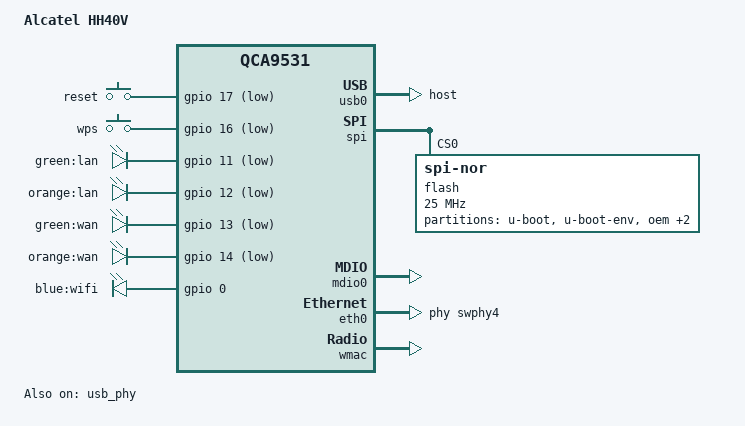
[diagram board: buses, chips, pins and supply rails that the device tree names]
// SPDX-License-Identifier: GPL-2.0-or-later OR MIT

#include "qca953x.dtsi"

#include <dt-bindings/gpio/gpio.h>
#include <dt-bindings/input/input.h>

/ {
	compatible = "alcatel,hh40v", "qca,qca9531";
	model = "Alcatel HH40V";

	aliases {
		label-mac-device = &wmac;
		led-boot = &led_lan_link;
		led-failsafe = &led_lan_link;
		led-upgrade = &led_lan_link;
	};

	keys {
		compatible = "gpio-keys";

		reset {
			label = "reset";
			linux,code = <KEY_RESTART>;
			gpios = <&gpio 17 GPIO_ACTIVE_LOW>;
		};

		wps {
			label = "wps";
			linux,code = <KEY_WPS_BUTTON>;
			gpios = <&gpio 16 GPIO_ACTIVE_LOW>;
		};

	};

	leds {
		compatible = "gpio-leds";

		pinctrl-names = "default";
		pinctrl-0 = <&jtag_disable_pins>;

		lan_active {
			label = "green:lan";
			gpios = <&gpio 11 GPIO_ACTIVE_LOW>;
		};

		led_lan_link: lan_link {
			label = "orange:lan";
			gpios = <&gpio 12 GPIO_ACTIVE_LOW>;
		};

		wan_active {
			label = "green:wan";
			gpios = <&gpio 13 GPIO_ACTIVE_LOW>;
		};

		wan_link {
			label = "orange:wan";
			gpios = <&gpio 14 GPIO_ACTIVE_LOW>;
		};

		wifi {
			label = "blue:wifi";
			gpios = <&gpio 0 GPIO_ACTIVE_HIGH>;
			linux,default-trigger = "phy0tpt";
		};
	};
};

&usb0 {
	status = "okay";

	dr_mode = "host";
};

&usb_phy {
	status = "okay";
};

&spi {
	status = "okay";

	/* Winbond W25Q256 SPI flash */
	flash@0 {
		compatible = "jedec,spi-nor";
		reg = <0>;
		spi-max-frequency = <25000000>;

		partitions {
			compatible = "fixed-partitions";
			#address-cells = <1>;
			#size-cells = <1>;

			partition@0 {
				label = "u-boot";
				reg = <0x000000 0x040000>;
				read-only;
			};

			partition@40000 {
				label = "u-boot-env";
				reg = <0x040000 0x010000>;
			};

			partition@50000 {
				label = "oem";
				reg = <0x050000 0x100000>;
				read-only;
			};

			partition@150000 {
				compatible = "denx,uimage";
				label = "firmware";
				reg = <0x150000 0xea0000>;
			};

			art: partition@ff0000 {
				label = "art";
				reg = <0xff0000 0x010000>;
				read-only;

				nvmem-layout {
					compatible = "fixed-layout";
					#address-cells = <1>;
					#size-cells = <1>;

					cal_art_1000: cal@1000 {
						reg = <0x1000 0x440>;
					};

					macaddr_art_0: macaddr@0 {
						reg = <0x0 0x6>;
					};

					macaddr_art_6: macaddr@6 {
						reg = <0x6 0x6>;
					};

					macaddr_art_1002: macaddr@1002 {
						reg = <0x1002 0x6>;
					};
				};
			};
		};
	};
};

&mdio0 {
	status = "okay";
};


&eth0 {
	status = "okay";

	nvmem-cells = <&macaddr_art_0>;
	nvmem-cell-names = "mac-address";

	phy-handle = <&swphy4>;
};

&eth1 {
	compatible = "qca,qca9530-eth", "syscon", "simple-mfd";

	nvmem-cells = <&macaddr_art_6>;
	nvmem-cell-names = "mac-address";
};

&wmac {
	status = "okay";

	nvmem-cells = <&cal_art_1000>, <&macaddr_art_1002>;
	nvmem-cell-names = "calibration", "mac-address";
};
